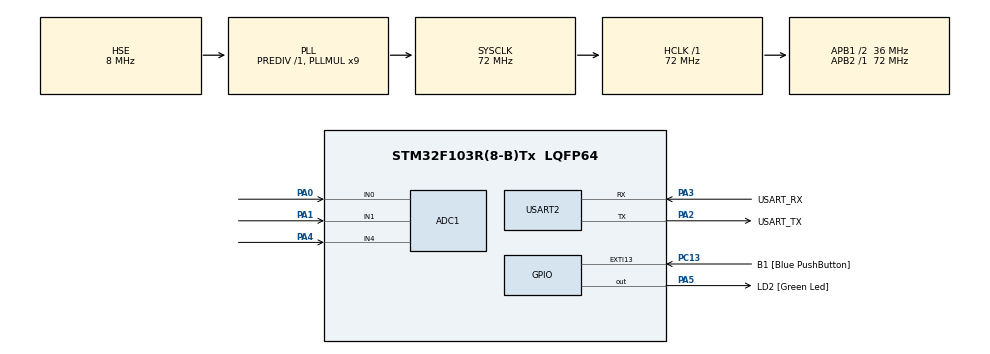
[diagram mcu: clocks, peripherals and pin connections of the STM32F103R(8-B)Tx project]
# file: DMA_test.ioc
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ADC1.Channel-0\#ChannelRegularConversion=ADC_CHANNEL_0
ADC1.Channel-1\#ChannelRegularConversion=ADC_CHANNEL_1
ADC1.Channel-2\#ChannelRegularConversion=ADC_CHANNEL_4
ADC1.ContinuousConvMode=ENABLE
ADC1.NbrOfConversion=3
ADC1.NbrOfConversionFlag=1
ADC1.Rank-0\#ChannelRegularConversion=1
ADC1.Rank-1\#ChannelRegularConversion=2
ADC1.Rank-2\#ChannelRegularConversion=3
ADC1.SamplingTime-0\#ChannelRegularConversion=ADC_SAMPLETIME_239CYCLES_5
ADC1.SamplingTime-1\#ChannelRegularConversion=ADC_SAMPLETIME_239CYCLES_5
ADC1.SamplingTime-2\#ChannelRegularConversion=ADC_SAMPLETIME_239CYCLES_5
ADC1.master=1
Dma.ADC1.0.Direction=DMA_PERIPH_TO_MEMORY
Dma.ADC1.0.Instance=DMA1_Channel1
Dma.ADC1.0.MemDataAlignment=DMA_MDATAALIGN_HALFWORD
Dma.ADC1.0.MemInc=DMA_MINC_ENABLE
Dma.ADC1.0.Mode=DMA_CIRCULAR
Dma.ADC1.0.PeriphDataAlignment=DMA_PDATAALIGN_HALFWORD
Dma.ADC1.0.PeriphInc=DMA_PINC_DISABLE
Dma.ADC1.0.Priority=DMA_PRIORITY_LOW
Dma.Request0=ADC1
Mcu.Family=STM32F1
Mcu.Name=STM32F103R(8-B)Tx
Mcu.Package=LQFP64
NVIC.DMA1_Channel1_IRQn=true\:0\:0\:false\:false\:true\:false\:true\:true
NVIC.EXTI15_10_IRQn=true\:0\:0\:false\:false\:true\:true\:true\:true
NVIC.PriorityGroup=NVIC_PRIORITYGROUP_4
PA0-WKUP.Signal=ADCx_IN0
PA1.Signal=ADCx_IN1
PA13.GPIO_Label=TMS
PA13.Mode=Serial_Wire
PA13.Signal=SYS_JTMS-SWDIO
PA14.GPIO_Label=TCK
PA14.Mode=Serial_Wire
PA14.Signal=SYS_JTCK-SWCLK
PA2.GPIO_Label=USART_TX
PA2.GPIO_Mode=GPIO_MODE_AF_PP
PA2.GPIO_PuPd=GPIO_NOPULL
PA2.GPIO_Speed=GPIO_SPEED_FREQ_LOW
PA2.Mode=Asynchronous
PA2.Signal=USART2_TX
PA3.GPIO_Label=USART_RX
PA3.GPIO_Mode=GPIO_MODE_AF_PP
PA3.GPIO_PuPd=GPIO_NOPULL
PA3.GPIO_Speed=GPIO_SPEED_FREQ_LOW
PA3.Mode=Asynchronous
PA3.Signal=USART2_RX
PA4.Signal=ADCx_IN4
PA5.GPIO_Label=LD2 [Green Led]
PA5.GPIO_ModeDefaultOutputPP=GPIO_MODE_OUTPUT_PP
PA5.GPIO_PuPd=GPIO_NOPULL
PA5.GPIO_Speed=GPIO_SPEED_FREQ_LOW
PA5.Signal=GPIO_Output
PB3.GPIO_Label=SWO
PB3.Signal=SYS_JTDO-TRACESWO
PC13-TAMPER-RTC.GPIO_Label=B1 [Blue PushButton]
PC13-TAMPER-RTC.GPIO_PuPd=GPIO_NOPULL
PC13-TAMPER-RTC.Signal=GPXTI13
PC14-OSC32_IN.Mode=LSE-External-Oscillator
PC14-OSC32_IN.Signal=RCC_OSC32_IN
PC15-OSC32_OUT.Mode=LSE-External-Oscillator
PC15-OSC32_OUT.Signal=RCC_OSC32_OUT
PD0-OSC_IN.Mode=HSE-External-Clock-Source
PD0-OSC_IN.Signal=RCC_OSC_IN
PD1-OSC_OUT.Mode=HSE-External-Clock-Source
PD1-OSC_OUT.Signal=RCC_OSC_OUT
ProjectManager.HeapSize=0x200
ProjectManager.StackSize=0x400
ProjectManager.TargetToolchain=STM32CubeIDE
RCC.ADCPresc=RCC_ADCPCLK2_DIV6
RCC.AHBFreq_Value=72000000
RCC.APB1CLKDivider=RCC_HCLK_DIV2
RCC.APB1Freq_Value=36000000
RCC.APB1TimFreq_Value=72000000
RCC.APB2Freq_Value=72000000
RCC.APB2TimFreq_Value=72000000
RCC.HCLKFreq_Value=72000000
RCC.PLLMUL=RCC_PLL_MUL9
RCC.PLLSourceVirtual=RCC_PLLSOURCE_HSE
RCC.RTCClockSelection=RCC_RTCCLKSOURCE_LSE
RCC.SYSCLKFreq_VALUE=72000000
RCC.SYSCLKSource=RCC_SYSCLKSOURCE_PLLCLK
RCC.USBFreq_Value=72000000
SH.ADCx_IN0.0=ADC1_IN0,IN0
SH.ADCx_IN1.0=ADC1_IN1,IN1
SH.ADCx_IN4.0=ADC1_IN4,IN4
USART2.VirtualMode=VM_ASYNC
board=NUCLEO-F103RB

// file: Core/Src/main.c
/* USER CODE BEGIN Header */
/**
  ******************************************************************************
  * @file           : main.c
  * @brief          : Main program body
  ******************************************************************************
  * @attention
  *
  * Copyright (c) 2023 STMicroelectronics.
  * All rights reserved.
  *
  * This software is licensed under terms that can be found in the LICENSE file
  * in the root directory of this software component.
  * If no LICENSE file comes with this software, it is provided AS-IS.
  *
  ******************************************************************************
  */
/* USER CODE END Header */
#include "main.h"

/* USER CODE BEGIN Includes */
#include <stdio.h>
/* USER CODE END Includes */

ADC_HandleTypeDef hadc1;
DMA_HandleTypeDef hdma_adc1;

UART_HandleTypeDef huart2;

/* USER CODE BEGIN PV */
volatile uint16_t value[3];
volatile float voltage[3];
uint16_t oversampling_samples_number = 10;
/* USER CODE END PV */

void SystemClock_Config(void);
static void MX_GPIO_Init(void);
static void MX_DMA_Init(void);
static void MX_USART2_UART_Init(void);
static void MX_ADC1_Init(void);

/* USER CODE BEGIN 0 */
int __io_putchar(int ch)
{
  if (ch == '\n') {
    __io_putchar('\r');
  }

  HAL_UART_Transmit(&huart2, (uint8_t*)&ch, 1, HAL_MAX_DELAY);

  return 1;
}
/* USER CODE END 0 */

int main(void)
{

  /* MCU Configuration--------------------------------------------------------*/

  /* Reset of all peripherals, Initializes the Flash interface and the Systick. */
  HAL_Init();

  /* Configure the system clock */
  SystemClock_Config();

  /* Initialize all configured peripherals */
  MX_GPIO_Init();
  MX_DMA_Init();
  MX_USART2_UART_Init();
  MX_ADC1_Init();

  /* Infinite loop */
  /* USER CODE BEGIN WHILE */

  HAL_ADCEx_Calibration_Start(&hadc1);
  HAL_ADC_Start_DMA(&hadc1, (uint32_t*)value, 3);

  while (1)
  {
	  voltage[0] = 3*(3.3f * value[0] / 4096.0f);
	  voltage[1] = 3*(3.3f * value[1] / 4096.0f);
	  voltage[2] = 3*(3.3f * value[2] / 4096.0f);

	  printf("value1=%.2f \n", voltage[0]);

	  HAL_Delay(10);
    /* USER CODE END WHILE */

  }
}

void SystemClock_Config(void)
{
  RCC_OscInitTypeDef RCC_OscInitStruct = {0};
  RCC_ClkInitTypeDef RCC_ClkInitStruct = {0};
  RCC_PeriphCLKInitTypeDef PeriphClkInit = {0};

  /** Initializes the RCC Oscillators according to the specified parameters
  * in the RCC_OscInitTypeDef structure.
  */
  RCC_OscInitStruct.OscillatorType = RCC_OSCILLATORTYPE_HSE;
  RCC_OscInitStruct.HSEState = RCC_HSE_BYPASS;
  RCC_OscInitStruct.HSEPredivValue = RCC_HSE_PREDIV_DIV1;
  RCC_OscInitStruct.HSIState = RCC_HSI_ON;
  RCC_OscInitStruct.PLL.PLLState = RCC_PLL_ON;
  RCC_OscInitStruct.PLL.PLLSource = RCC_PLLSOURCE_HSE;
  RCC_OscInitStruct.PLL.PLLMUL = RCC_PLL_MUL9;
  if (HAL_RCC_OscConfig(&RCC_OscInitStruct) != HAL_OK)
  {
    Error_Handler();
  }

  /** Initializes the CPU, AHB and APB buses clocks
  */
  RCC_ClkInitStruct.ClockType = RCC_CLOCKTYPE_HCLK|RCC_CLOCKTYPE_SYSCLK
                              |RCC_CLOCKTYPE_PCLK1|RCC_CLOCKTYPE_PCLK2;
  RCC_ClkInitStruct.SYSCLKSource = RCC_SYSCLKSOURCE_PLLCLK;
  RCC_ClkInitStruct.AHBCLKDivider = RCC_SYSCLK_DIV1;
  RCC_ClkInitStruct.APB1CLKDivider = RCC_HCLK_DIV2;
  RCC_ClkInitStruct.APB2CLKDivider = RCC_HCLK_DIV1;

  if (HAL_RCC_ClockConfig(&RCC_ClkInitStruct, FLASH_LATENCY_2) != HAL_OK)
  {
    Error_Handler();
  }
  PeriphClkInit.PeriphClockSelection = RCC_PERIPHCLK_ADC;
  PeriphClkInit.AdcClockSelection = RCC_ADCPCLK2_DIV6;
  if (HAL_RCCEx_PeriphCLKConfig(&PeriphClkInit) != HAL_OK)
  {
    Error_Handler();
  }
}

static void MX_ADC1_Init(void)
{

  ADC_ChannelConfTypeDef sConfig = {0};

  /** Common config
  */
  hadc1.Instance = ADC1;
  hadc1.Init.ScanConvMode = ADC_SCAN_ENABLE;
  hadc1.Init.ContinuousConvMode = ENABLE;
  hadc1.Init.DiscontinuousConvMode = DISABLE;
  hadc1.Init.ExternalTrigConv = ADC_SOFTWARE_START;
  hadc1.Init.DataAlign = ADC_DATAALIGN_RIGHT;
  hadc1.Init.NbrOfConversion = 3;
  if (HAL_ADC_Init(&hadc1) != HAL_OK)
  {
    Error_Handler();
  }

  /** Configure Regular Channel
  */
  sConfig.Channel = ADC_CHANNEL_0;
  sConfig.Rank = ADC_REGULAR_RANK_1;
  sConfig.SamplingTime = ADC_SAMPLETIME_239CYCLES_5;
  if (HAL_ADC_ConfigChannel(&hadc1, &sConfig) != HAL_OK)
  {
    Error_Handler();
  }

  /** Configure Regular Channel
  */
  sConfig.Channel = ADC_CHANNEL_1;
  sConfig.Rank = ADC_REGULAR_RANK_2;
  if (HAL_ADC_ConfigChannel(&hadc1, &sConfig) != HAL_OK)
  {
    Error_Handler();
  }

  /** Configure Regular Channel
  */
  sConfig.Channel = ADC_CHANNEL_4;
  sConfig.Rank = ADC_REGULAR_RANK_3;
  if (HAL_ADC_ConfigChannel(&hadc1, &sConfig) != HAL_OK)
  {
    Error_Handler();
  }

}

static void MX_USART2_UART_Init(void)
{

  huart2.Instance = USART2;
  huart2.Init.BaudRate = 115200;
  huart2.Init.WordLength = UART_WORDLENGTH_8B;
  huart2.Init.StopBits = UART_STOPBITS_1;
  huart2.Init.Parity = UART_PARITY_NONE;
  huart2.Init.Mode = UART_MODE_TX_RX;
  huart2.Init.HwFlowCtl = UART_HWCONTROL_NONE;
  huart2.Init.OverSampling = UART_OVERSAMPLING_16;
  if (HAL_UART_Init(&huart2) != HAL_OK)
  {
    Error_Handler();
  }

}

static void MX_DMA_Init(void)
{

  /* DMA controller clock enable */
  __HAL_RCC_DMA1_CLK_ENABLE();

  /* DMA interrupt init */
  /* DMA1_Channel1_IRQn interrupt configuration */
  HAL_NVIC_SetPriority(DMA1_Channel1_IRQn, 0, 0);
  HAL_NVIC_EnableIRQ(DMA1_Channel1_IRQn);

}

static void MX_GPIO_Init(void)
{
  GPIO_InitTypeDef GPIO_InitStruct = {0};

  /* GPIO Ports Clock Enable */
  __HAL_RCC_GPIOC_CLK_ENABLE();
  __HAL_RCC_GPIOD_CLK_ENABLE();
  __HAL_RCC_GPIOA_CLK_ENABLE();
  __HAL_RCC_GPIOB_CLK_ENABLE();

  /*Configure GPIO pin Output Level */
  HAL_GPIO_WritePin(LD2_GPIO_Port, LD2_Pin, GPIO_PIN_RESET);

  /*Configure GPIO pin : B1_Pin */
  GPIO_InitStruct.Pin = B1_Pin;
  GPIO_InitStruct.Mode = GPIO_MODE_IT_RISING;
  GPIO_InitStruct.Pull = GPIO_NOPULL;
  HAL_GPIO_Init(B1_GPIO_Port, &GPIO_InitStruct);

  /*Configure GPIO pin : LD2_Pin */
  GPIO_InitStruct.Pin = LD2_Pin;
  GPIO_InitStruct.Mode = GPIO_MODE_OUTPUT_PP;
  GPIO_InitStruct.Pull = GPIO_NOPULL;
  GPIO_InitStruct.Speed = GPIO_SPEED_FREQ_LOW;
  HAL_GPIO_Init(LD2_GPIO_Port, &GPIO_InitStruct);

  /* EXTI interrupt init*/
  HAL_NVIC_SetPriority(EXTI15_10_IRQn, 0, 0);
  HAL_NVIC_EnableIRQ(EXTI15_10_IRQn);

}

void Error_Handler(void)
{
  __disable_irq();
  while (1)
  {
  }
}
